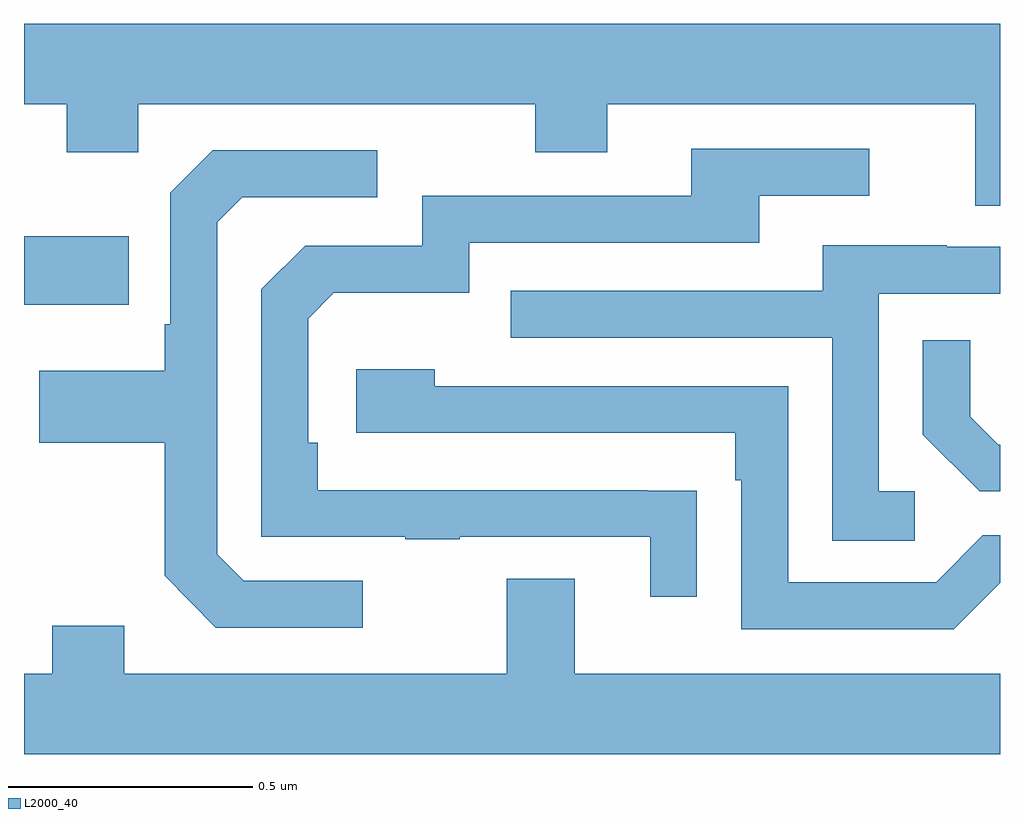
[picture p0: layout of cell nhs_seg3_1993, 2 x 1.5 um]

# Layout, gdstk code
import gdstk
lib = gdstk.Library(unit=1e-6, precision=1e-09)
def R(c, l, rs):  # rectangles x0, y0, x1, y1
    for r in rs: c.add(gdstk.rectangle(r[:2], r[2:], *l))
def P(c, l, *ps):  # polygons
    for p in ps: c.add(gdstk.Polygon(p, *l))
L2000_40 = (2000, 40)

nhs_seg3_1993 = lib.new_cell('nhs_seg3_1993')
R(nhs_seg3_1993, L2000_40, [(135,728.477,135.215,728.617)])
P(nhs_seg3_1993, L2000_40, [(137,729.052),(135,729.052),(135,728.888),(135.088,728.888),(135.088,728.789),(135.234,728.789),(135.234,728.888),(136.048,728.888),(136.048,728.789),(136.195,728.789),(136.195,728.888),(136.949,728.888),(136.949,728.68),(137,728.68)],
  [(136.379,728.096),(136.277,728.096),(136.277,728.097),(135.602,728.097),(135.602,728.194),(135.582,728.194),(135.582,728.448),(135.635,728.501),(135.912,728.501),(135.912,728.604),(136.507,728.604),(136.507,728.7),(136.732,728.7),(136.732,728.796),(136.367,728.796),(136.367,728.7),(135.816,728.7),(135.816,728.598),(135.576,728.598),(135.486,728.508),(135.486,728.001),(135.781,728.001),(135.781,727.996),(135.893,727.996),(135.893,728.001),(136.283,728.001),(136.283,727.878),(136.379,727.878)],
  [(135.694,727.911),(135.45,727.911),(135.396,727.965),(135.396,728.646),(135.447,728.697),(135.724,728.697),(135.724,728.793),(135.387,728.793),(135.3,728.706),(135.3,728.437),(135.288,728.437),(135.288,728.341),(135.031,728.341),(135.031,728.194),(135.288,728.194),(135.288,727.921),(135.393,727.815),(135.694,727.815)],
  [(136.825,728.094),(136.752,728.094),(136.752,728.499),(137,728.499),(137,728.595),(136.891,728.595),(136.891,728.599),(136.637,728.599),(136.637,728.505),(135.997,728.505),(135.997,728.409),(136.656,728.409),(136.656,727.993),(136.825,727.993)],
  [(137,728.19),(136.996,728.19),(136.939,728.247),(136.939,728.404),(136.842,728.404),(136.842,728.21),(136.958,728.094),(137,728.094)],
  [(137,727.907),(137,728.004),(136.965,728.004),(136.869,727.908),(136.566,727.908),(136.566,728.31),(135.842,728.31),(135.842,728.344),(135.681,728.344),(135.681,728.214),(136.457,728.214),(136.457,728.117),(136.47,728.117),(136.47,727.812),(136.905,727.812)],
  [(137,727.72),(136.129,727.72),(136.129,727.915),(135.989,727.915),(135.989,727.72),(135.205,727.72),(135.205,727.819),(135.058,727.819),(135.058,727.72),(135,727.72),(135,727.556),(137,727.556)])

lib.write_gds('nhs_seg3_1993.gds')
